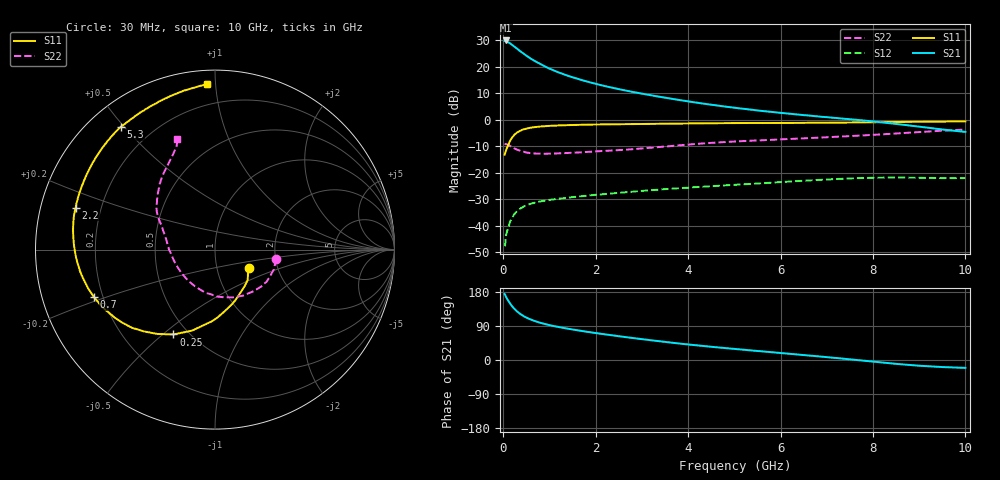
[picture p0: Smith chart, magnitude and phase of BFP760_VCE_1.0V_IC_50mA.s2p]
! Infineon Technologies  Discrete & RF Semiconductors
! BFP760
! VCE =  1.0 V,  IC =  50 mA
! Common Emitter S-Parameters:  Nov 2012
# GHz  S  MA  R  50
!  f  S11  S21  S12  S22
! GHz  MAG  ANG  MAG  ANG  MAG  ANG  MAG  ANG
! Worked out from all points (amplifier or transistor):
!   99 points, 30 MHz to 10 GHz, reference 50 ohm
!   highest |S21| = 29.8 dB at 50 MHz (marker M1)
!   |S21| within 3 dB of that: start of sweep to 292.2 MHz
!   unconditionally stable (mu >= 1): start of sweep to 203.5 MHz; 1.649 GHz to end of sweep
!   at 350 MHz: K = 0.78, MSG = 29.9 dB, |S12| = -33.8 dB
!   at 3.5 GHz: K = 1.33, MAG = 13.8 dB, |S12| = -26.2 dB
!   at 10 GHz: K = 1.44, MAG = 4.8 dB, |S12| = -22.1 dB
!   S11 on the Smith chart (normalised r, x): 30 MHz: 1.43, -0.31; 250 MHz: 0.42, -0.54; 700 MHz: 0.17, -0.18; 2.2 GHz: 0.11, +0.15; 5.3 GHz: 0.09, +0.49; 10 GHz: 0.07, +0.95
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0.03  0.2177 -28.6  30.2 174.3  0.0041 40.0  0.3468 -8.9
0.04  0.2286 -36.6  30.21 172.4  0.0042 44.9  0.3461 -12.2
0.05  0.2482 -42.7  31.08 169.7  0.0052 50.1  0.3435 -15.5
0.07  0.2746 -57.5  30.39 164.5  0.007 49.9  0.3422 -22.2
0.1  0.3204 -73.3  29.26 158.1  0.0084 55.9  0.3386 -31.9
0.15  0.3996 -92.4  27.38 148.9  0.012 53.8  0.3179 -46.2
0.2  0.4692 -105.8  25.33 140.6  0.0145 52.9  0.3002 -58.8
0.25  0.5265 -116.1  23.47 133.9  0.0169 49.2  0.2837 -69.7
0.35  0.6045 -131.1  20.03 123.2  0.0205 45.0  0.2617 -88.0
0.45  0.6564 -141.5  17.31 115.2  0.0231 41.6  0.2469 -102.0
0.6  0.7051 -152.9  14.05 106.6  0.0259 38.0  0.233 -118.7
0.7  0.724 -158.5  12.46 102.1  0.0274 36.4  0.2289 -127.7
0.9  0.751 -167.2  10.1 95.0  0.0296 34.2  0.2269 -141.5
1.1  0.768 -173.8  8.41 89.4  0.0314 33.1  0.2289 -151.6
1.7  0.7987 172.0  5.561 76.6  0.0359 32.4  0.2416 -170.9
2.2  0.811 163.2  4.29 67.7  0.0394 32.5  0.257 179.1
3.4  0.8337 145.7  2.681 49.2  0.048 32.2  0.3051 160.5
5.1  0.8603 128.9  1.633 28.2  0.0595 29.8  0.3899 146.4
5.3  0.8621 127.5  1.559 26.0  0.0609 29.3  0.3974 145.1
6.7  0.8707 118.0  1.171 10.9  0.0719 24.9  0.4515 134.6
8.5  0.902 101.3  0.829 -10.2  0.0808 13.4  0.5464 118.2
10  0.9243 92.9  0.586 -20.8  0.0787 8.8  0.6489 108.9
